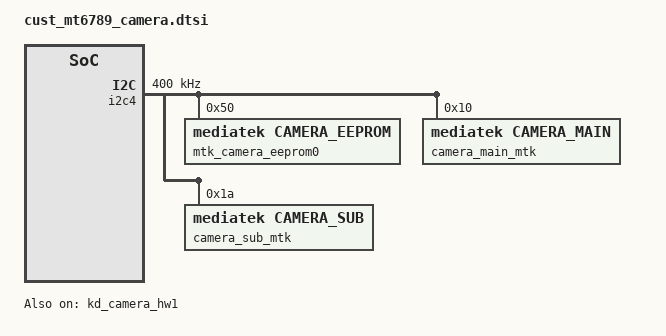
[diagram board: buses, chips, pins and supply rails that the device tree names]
// SPDX-License-Identifier: GPL-2.0
/* Copyright (c) 2020 MediaTek Inc. */
/* CAMERA GPIO standardization */
&pio {
	camera_pins_cam0_rst_0: cam0@0 {
		pins_cmd_dat {
			pinmux = <PINMUX_GPIO15__FUNC_GPIO15>;
			slew-rate = <1>;
			output-low;
		};
	};
	camera_pins_cam0_rst_1: cam0@1 {
		pins_cmd_dat {
			pinmux = <PINMUX_GPIO15__FUNC_GPIO15>;
			slew-rate = <1>;
			output-high;
		};
	};	
	camera_pins_cam0_ldo_vcamd_0: cam0@2 {
		pins_cmd_dat {
			pinmux = <PINMUX_GPIO21__FUNC_GPIO21>;
			slew-rate = <1>;
			output-low;
		};
	};
	camera_pins_cam0_ldo_vcamd_1: cam0@3 {
		pins_cmd_dat {
			pinmux = <PINMUX_GPIO21__FUNC_GPIO21>;
			slew-rate = <1>;
			output-high;
		};
	};
	camera_pins_cam0_ldo_vcama_0: cam0@4 {
		pins_cmd_dat {
			pinmux = <PINMUX_GPIO19__FUNC_GPIO19>;
			slew-rate = <1>;
			output-low;
		};
	};
	camera_pins_cam0_ldo_vcama_1: cam0@5 {
		pins_cmd_dat {
			pinmux = <PINMUX_GPIO19__FUNC_GPIO19>;
			slew-rate = <1>;
			output-high;
		};
	};
	camera_pins_cam0_ldo_vcamio_0: cam0@6 {
		pins_cmd_dat {
			pinmux = <PINMUX_GPIO22__FUNC_GPIO22>;
			slew-rate = <1>;
			output-low;
		};
	};
	camera_pins_cam0_ldo_vcamio_1: cam0@7 {
		pins_cmd_dat {
			pinmux = <PINMUX_GPIO22__FUNC_GPIO22>;
			slew-rate = <1>;
			output-high;
		};
	};

#if 1
	camera_pins_cam0_ldo_vcamafvdd_0: cam0@10 {
		pins_cmd_dat {
			pinmux = <PINMUX_GPIO151__FUNC_GPIO151>;
			slew-rate = <1>;
			output-low;
		};
	};
	camera_pins_cam0_ldo_vcamafvdd_1: cam0@11 {
		pins_cmd_dat {
			pinmux = <PINMUX_GPIO151__FUNC_GPIO151>;
			slew-rate = <1>;
			output-high;
		};
	};
#endif	
	camera_pins_cam1_rst_0: cam1@0 {
		pins_cmd_dat {
			pinmux = <PINMUX_GPIO15__FUNC_GPIO15>;
			slew-rate = <1>;
			output-low;
		};
	};
	camera_pins_cam1_rst_1: cam1@1 {
		pins_cmd_dat {
			pinmux = <PINMUX_GPIO15__FUNC_GPIO15>;
			slew-rate = <1>;
			output-high;
		};
	};	
	camera_pins_cam1_ldo_vcamd_0: cam1@2 {
		pins_cmd_dat {
			pinmux = <PINMUX_GPIO21__FUNC_GPIO21>;
			slew-rate = <1>;
			output-low;
		};
	};
	camera_pins_cam1_ldo_vcamd_1: cam1@3 {
		pins_cmd_dat {
			pinmux = <PINMUX_GPIO21__FUNC_GPIO21>;
			slew-rate = <1>;
			output-high;
		};
	};
	camera_pins_cam1_ldo_vcama_0: cam1@4 {
		pins_cmd_dat {
			pinmux = <PINMUX_GPIO19__FUNC_GPIO19>;
			slew-rate = <1>;
			output-low;
		};
	};
	camera_pins_cam1_ldo_vcama_1: cam1@5 {
		pins_cmd_dat {
			pinmux = <PINMUX_GPIO19__FUNC_GPIO19>;
			slew-rate = <1>;
			output-high;
		};
	};
	camera_pins_cam1_ldo_vcamio_0: cam1@6 {
		pins_cmd_dat {
			pinmux = <PINMUX_GPIO22__FUNC_GPIO22>;
			slew-rate = <1>;
			output-low;
		};
	};
	camera_pins_cam1_ldo_vcamio_1: cam1@7 {
		pins_cmd_dat {
			pinmux = <PINMUX_GPIO22__FUNC_GPIO22>;
			slew-rate = <1>;
			output-high;
		};
	};

#if 1
	camera_pins_cam1_ldo_vcamafvdd_0: cam1@10 {
		pins_cmd_dat {
			pinmux = <PINMUX_GPIO151__FUNC_GPIO151>;
			slew-rate = <1>;
			output-low;
		};
	};
	camera_pins_cam1_ldo_vcamafvdd_1: cam1@11 {
		pins_cmd_dat {
			pinmux = <PINMUX_GPIO151__FUNC_GPIO151>;
			slew-rate = <1>;
			output-high;
		};
	};
#endif	

	camera_pins_cam0_mclk_off: camera_pins_cam0_mclk_off {
		pins_cmd_dat {
			pinmux = <PINMUX_GPIO126__FUNC_GPIO126>;
			drive-strength = <1>;
		};
	};
	camera_pins_cam0_mclk_2ma: camera_pins_cam0_mclk_2ma {
		pins_cmd_dat {
			pinmux = <PINMUX_GPIO126__FUNC_CMMCLK0>;
			drive-strength = <0>;
		};
	};
	camera_pins_cam0_mclk_4ma: camera_pins_cam0_mclk_4ma {
		pins_cmd_dat {
			pinmux = <PINMUX_GPIO126__FUNC_CMMCLK0>;
			drive-strength = <1>;
		};
	};
	camera_pins_cam0_mclk_6ma: camera_pins_cam0_mclk_6ma {
		pins_cmd_dat {
			pinmux = <PINMUX_GPIO126__FUNC_CMMCLK0>;
			drive-strength = <2>;
		};
	};
	camera_pins_cam0_mclk_8ma: camera_pins_cam0_mclk_8ma {
		pins_cmd_dat {
			pinmux = <PINMUX_GPIO126__FUNC_CMMCLK0>;
			drive-strength = <3>;
		};
	};
	camera_pins_cam1_mclk_off: camera_pins_cam1_mclk_off {
		pins_cmd_dat {
			pinmux = <PINMUX_GPIO126__FUNC_GPIO126>;
			drive-strength = <1>;
		};
	};
	camera_pins_cam1_mclk_2ma: camera_pins_cam1_mclk_2ma {
		pins_cmd_dat {
			pinmux = <PINMUX_GPIO126__FUNC_CMMCLK0>;
			drive-strength = <0>;
		};
	};
	camera_pins_cam1_mclk_4ma: camera_pins_cam1_mclk_4ma {
		pins_cmd_dat {
			pinmux = <PINMUX_GPIO126__FUNC_CMMCLK0>;
			drive-strength = <1>;
		};
	};
	camera_pins_cam1_mclk_6ma: camera_pins_cam1_mclk_6ma {
		pins_cmd_dat {
			pinmux = <PINMUX_GPIO126__FUNC_CMMCLK0>;
			drive-strength = <2>;
		};
	};
	camera_pins_cam1_mclk_8ma: camera_pins_cam1_mclk_8ma {
		pins_cmd_dat {
			pinmux = <PINMUX_GPIO126__FUNC_CMMCLK0>;
			drive-strength = <3>;
		};
	};
	camera_pins_cam2_mclk_off: camera_pins_cam2_mclk_off {
		pins_cmd_dat {
			pinmux = <PINMUX_GPIO129__FUNC_GPIO129>;
			drive-strength = <1>;
		};
	};
	camera_pins_cam2_mclk_2ma: camera_pins_cam2_mclk_2ma {
		pins_cmd_dat {
			pinmux = <PINMUX_GPIO129__FUNC_CMMCLK3>;
			drive-strength = <0>;
		};
	};
	camera_pins_cam2_mclk_4ma: camera_pins_cam2_mclk_4ma {
		pins_cmd_dat {
			pinmux = <PINMUX_GPIO129__FUNC_CMMCLK3>;
			drive-strength = <1>;
		};
	};
	camera_pins_cam2_mclk_6ma: camera_pins_cam2_mclk_6ma {
		pins_cmd_dat {
			pinmux = <PINMUX_GPIO129__FUNC_CMMCLK3>;
			drive-strength = <2>;
		};
	};
	camera_pins_cam2_mclk_8ma: camera_pins_cam2_mclk_8ma {
		pins_cmd_dat {
			pinmux = <PINMUX_GPIO129__FUNC_CMMCLK3>;
			drive-strength = <3>;
		};
	};
	camera_pins_default: camdefault {
	};
};
&kd_camera_hw1 {
	pinctrl-names = "default",
			"cam0_rst0", "cam0_rst1",
//			"cam0_pnd0", "cam0_pnd1",
			"cam1_rst0", "cam1_rst1",

			"cam0_mclk_off",
			"cam0_mclk_2mA", "cam0_mclk_4mA",
			"cam0_mclk_6mA", "cam0_mclk_8mA",

			"cam1_mclk_off",
			"cam1_mclk_2mA", "cam1_mclk_4mA",
			"cam1_mclk_6mA", "cam1_mclk_8mA",

			"cam2_mclk_off",
			"cam2_mclk_2mA", "cam2_mclk_4mA",
			"cam2_mclk_6mA", "cam2_mclk_8mA",

			"cam0_ldo_vcama_0", "cam0_ldo_vcama_1",
			"cam0_ldo_vcamd_0", "cam0_ldo_vcamd_1",
			"cam0_ldo_vcamio_0", "cam0_ldo_vcamio_1",
			"cam0_ldo_vcamafvdd_0", "cam0_ldo_vcamafvdd_1",

			"cam1_ldo_vcama_0", "cam1_ldo_vcama_1",
			"cam1_ldo_vcamd_0", "cam1_ldo_vcamd_1",
			"cam1_ldo_vcamio_0", "cam1_ldo_vcamio_1",
			"cam1_ldo_vcamafvdd_0", "cam1_ldo_vcamafvdd_1";

	pinctrl-0 = <&camera_pins_default>;
	pinctrl-1 = <&camera_pins_cam0_rst_0>;
	pinctrl-2 = <&camera_pins_cam0_rst_1>;
	pinctrl-3 = <&camera_pins_cam1_rst_0>;
	pinctrl-4 = <&camera_pins_cam1_rst_1>;
	pinctrl-5 = <&camera_pins_cam0_mclk_off>;
	pinctrl-6 = <&camera_pins_cam0_mclk_2ma>;
	pinctrl-7 = <&camera_pins_cam0_mclk_4ma>;
	pinctrl-8 = <&camera_pins_cam0_mclk_6ma>;
	pinctrl-9 = <&camera_pins_cam0_mclk_8ma>;
	pinctrl-10= <&camera_pins_cam1_mclk_off>;
	pinctrl-11 = <&camera_pins_cam1_mclk_2ma>;
	pinctrl-12 = <&camera_pins_cam1_mclk_4ma>;
	pinctrl-13 = <&camera_pins_cam1_mclk_6ma>;
	pinctrl-14 = <&camera_pins_cam1_mclk_8ma>;
	pinctrl-15 = <&camera_pins_cam2_mclk_off>;
	pinctrl-16 = <&camera_pins_cam2_mclk_2ma>;
	pinctrl-17 = <&camera_pins_cam2_mclk_4ma>;
	pinctrl-18 = <&camera_pins_cam2_mclk_6ma>;
	pinctrl-19 = <&camera_pins_cam2_mclk_8ma>;

	pinctrl-20 = <&camera_pins_cam0_ldo_vcama_0>;
	pinctrl-21 = <&camera_pins_cam0_ldo_vcama_1>;
	pinctrl-22 = <&camera_pins_cam0_ldo_vcamd_0>;
	pinctrl-23 = <&camera_pins_cam0_ldo_vcamd_1>;
	pinctrl-24 = <&camera_pins_cam0_ldo_vcamio_0>;
	pinctrl-25 = <&camera_pins_cam0_ldo_vcamio_1>;
	pinctrl-26 = <&camera_pins_cam0_ldo_vcamafvdd_0>;
	pinctrl-27 = <&camera_pins_cam0_ldo_vcamafvdd_1>;

	pinctrl-28 = <&camera_pins_cam1_ldo_vcama_0>;
	pinctrl-29 = <&camera_pins_cam1_ldo_vcama_1>;
	pinctrl-30 = <&camera_pins_cam1_ldo_vcamd_0>;
	pinctrl-31 = <&camera_pins_cam1_ldo_vcamd_1>;
	pinctrl-32 = <&camera_pins_cam1_ldo_vcamio_0>;
	pinctrl-33 = <&camera_pins_cam1_ldo_vcamio_1>;
	pinctrl-34 = <&camera_pins_cam1_ldo_vcamafvdd_0>;
	pinctrl-35 = <&camera_pins_cam1_ldo_vcamafvdd_1>;
#if 0
	/* main (wide)*/
	cam0_vcama-supply = <&rt5133_ldo4>;
	cam0_vcamio-supply = <&rt5133_ldo1>;
	cam0_vcamd-supply = <&rt5133_ldo8>;
	cam0_vcama1-supply = <&rt5133_ldo5>;
	cam0_vcamaf-supply = <&rt5133_ldo3>;

	/* front*/
	cam1_vcama-supply = <&rt5133_ldo6>;
	cam1_vcamio-supply = <&rt5133_ldo1>;
	cam1_vcamd-supply = <&rt5133_ldo7>;
	cam1_vcama1-supply = <&rt5133_ldo5>;
	cam1_vcamaf-supply = <&rt5133_ldo2>;

	/* main2 (Ultra Wide)*/
	cam2_vcama-supply = <&rt5133_gpio2>;
	cam2_vcamio-supply = <&rt5133_ldo1>;
	cam2_vcamd-supply = <&rt5133_ldo7>;
	cam2_vcama1-supply = <&rt5133_ldo5>;
	cam2_vcamaf-supply = <&rt5133_gpio1>;
#endif
	cam0_pin_mclk = "mclk";
	cam0_pin_rst = "gpio";
//	cam0_pin_pnd = "gpio";
	cam0_pin_vcama = "gpio";
	cam0_pin_vcamio = "gpio";
	cam0_pin_vcamd = "gpio";
	cam0_pin_vcama1 = "regulator";
	cam0_pin_vcamaf = "gpio";
	cam1_pin_mclk = "mclk";
	cam1_pin_rst = "gpio";
	cam1_pin_vcama = "gpio";
	cam1_pin_vcamio = "gpio";
	cam1_pin_vcamd = "gpio";
	cam1_pin_vcama1 = "regulator";
	cam1_pin_vcamaf = "gpio";
	cam2_pin_mclk = "mclk";
	cam2_pin_rst = "gpio";
	cam2_pin_vcama = "regulator";
	cam2_pin_vcamio = "regulator";
	cam2_pin_vcamd = "regulator";
	cam2_pin_vcama1 = "regulator";
	cam2_pin_vcamaf = "gpio";
	status = "okay";
};
/* CAMERA GPIO end */

/* CAMERA EEPROM */
&i2c4 {
	status = "okay";
	clock-frequency = <400000>;
	#address-cells = <1>;
	#size-cells = <0>;
#if 0
	mtk_camera_eeprom1:camera_eeprom1@51 {
		compatible = "mediatek,camera_eeprom";
		reg = <0x51>;
		status = "okay";
	};
#endif
	mtk_camera_eeprom0:camera_eeprom0@50 {
		compatible = "mediatek,camera_eeprom";
		reg = <0x50>;
		status = "okay";
	};
	
	camera_main_mtk:camera_main@10 {
		compatible = "mediatek,camera_main";
		#thermal-sensor-cells = <0>;
		reg = <0x10>;
		status = "okay";
	};
	camera_sub_mtk:camera_sub@1a {
		compatible = "mediatek,camera_sub";
		#thermal-sensor-cells = <0>;
		reg = <0x1a>;
		status = "okay";
	};
};
/* CAMERA EEPROM end */

/* CAMERA TZ config */
&thermal_zones {
	camera_main: camera_main {
		polling-delay = <1000>; /* milliseconds */
		polling-delay-passive = <0>; /* milliseconds */
		thermal-sensors = <&camera_main_mtk>;
	};
	camera_sub: camera_sub {
		polling-delay = <1000>; /* milliseconds */
		polling-delay-passive = <0>; /* milliseconds */
		thermal-sensors = <&camera_sub_mtk>;
	};
#if 0
	camera_main_two: camera_main_two {
		polling-delay = <1000>; /* milliseconds */
		polling-delay-passive = <0>; /* milliseconds */
		thermal-sensors = <&camera_main_two_mtk>;
	};
#endif
};
/* CAMERA TZ config end */
